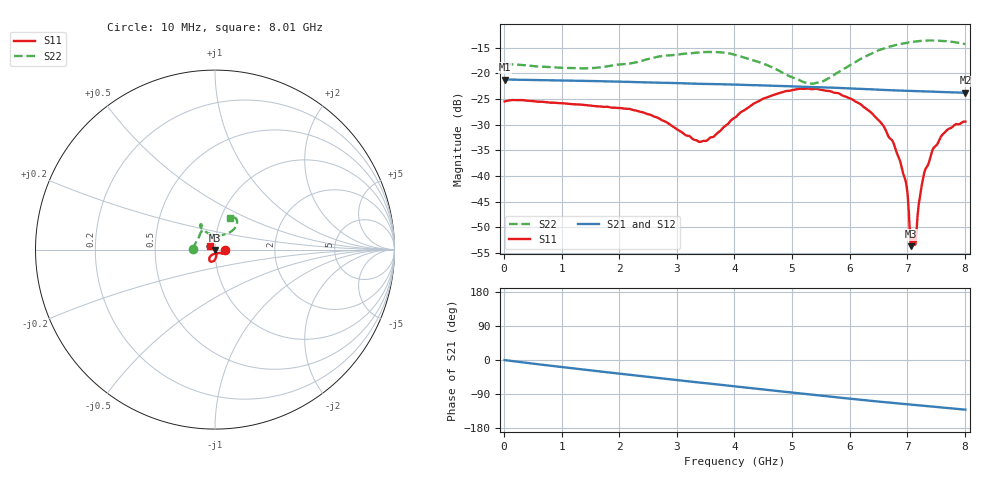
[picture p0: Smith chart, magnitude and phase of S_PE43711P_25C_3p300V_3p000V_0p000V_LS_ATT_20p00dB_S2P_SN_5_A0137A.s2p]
! Device ID: PE43711P
! File Path: z:\PE43711P\CHAR_NOM_04282014\AMB\3p300\LS_ATT_20p00dB\PE43711P_AMB_3p300V_3p000V_0p000V_LS_ATT_20p00dB_S2P_SN_5_A0137A.s2p
! Serial: 5
! Lot: A0137A
! Temp: 25C
! VDD: 3.300
! VSS: 0.000
! Control_Hi: 3.000
! Control_Lo: 0.000
! Attenuation Step: 20.00dB
! Port 1: RF1
! Port 2: RF2
! ThroughPath:1-2
! IDD: 0.0001271841
! ISS: -1.196e-007
#  Hz  S  RI  R  50
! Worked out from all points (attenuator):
!   801 points, 10 MHz to 8.01 GHz, reference 50 ohm
!   highest |S21| = -21.19 dB at 10 MHz (marker M1); lowest = -23.8 dB at 8.01 GHz (marker M2)
!   lowest |S11| = -53.7 dB at 7.07 GHz (marker M3), VSWR 1.00, Z = 49.9 - j0.183 ohm
!   |S11| at or under -10 dB: start of sweep to end of sweep
!   |S22| runs from -22.0 to -13.6 dB; largest |S21 - S12| = 0.00022
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1e7  0.0532 0.000177  0.0872 -0.000398  0.0872 -0.000433  -0.1243 0.00099
1.35e9  0.0458 -0.0187  0.0769 -0.0353  0.077 -0.0353  -0.0974 0.0547
2.17e9  0.0396 -0.0218  0.0642 -0.052  0.0642 -0.052  -0.0766 0.098
2.68e9  0.0308 -0.0199  0.0548 -0.0599  0.0548 -0.0599  -0.0727 0.1264
3.41e9  0.00541 -0.0208  0.0399 -0.0683  0.0399 -0.0683  -0.0768 0.1411
3.65e9  -0.00527 -0.0238  0.035 -0.0704  0.035 -0.0704  -0.0806 0.1401
4.01e9  -0.0199 -0.0313  0.0271 -0.0729  0.027 -0.0729  -0.082 0.1279
4.67e9  -0.0324 -0.0522  0.0124 -0.0748  0.0124 -0.0748  -0.053 0.1006
5.35e9  -0.0223 -0.0666  -0.00183 -0.0736  -0.00183 -0.0737  0.00642 0.079
6.17e9  0.00277 -0.0508  -0.0179 -0.0684  -0.0179 -0.0685  0.0913 0.1016
6.53e9  0.00742 -0.0329  -0.0238 -0.065  -0.0238 -0.0651  0.1147 0.1258
6.68e9  0.00644 -0.0231  -0.026 -0.0636  -0.0259 -0.0636  0.1192 0.1363
6.78e9  0.00626 -0.0185  -0.0274 -0.0625  -0.0274 -0.0626  0.1219 0.143
6.96e9  0.00235 -0.00909  -0.0299 -0.0608  -0.0298 -0.0608  0.1228 0.1537
6.99e9  0.00266 -0.00744  -0.0303 -0.0605  -0.0303 -0.0605  0.1233 0.1554
7.07e9  -0.000957 -0.00183  -0.0315 -0.0597  -0.0314 -0.0597  0.1223 0.161
7.1e9  -0.00202 -0.00154  -0.0319 -0.0594  -0.0319 -0.0594  0.1218 0.1621
7.13e9  -0.00206 -0.000533  -0.0323 -0.0591  -0.0323 -0.0591  0.1216 0.1638
7.27e9  -0.00611 0.00683  -0.0342 -0.0575  -0.0342 -0.0576  0.1185 0.1712
7.45e9  -0.0123 0.0137  -0.0364 -0.0554  -0.0365 -0.0554  0.1103 0.1775
7.68e9  -0.0196 0.0194  -0.0391 -0.0527  -0.0391 -0.0527  0.0989 0.181
8.01e9  -0.026 0.0217  -0.0425 -0.0488  -0.0427 -0.0487  0.0842 0.1734
